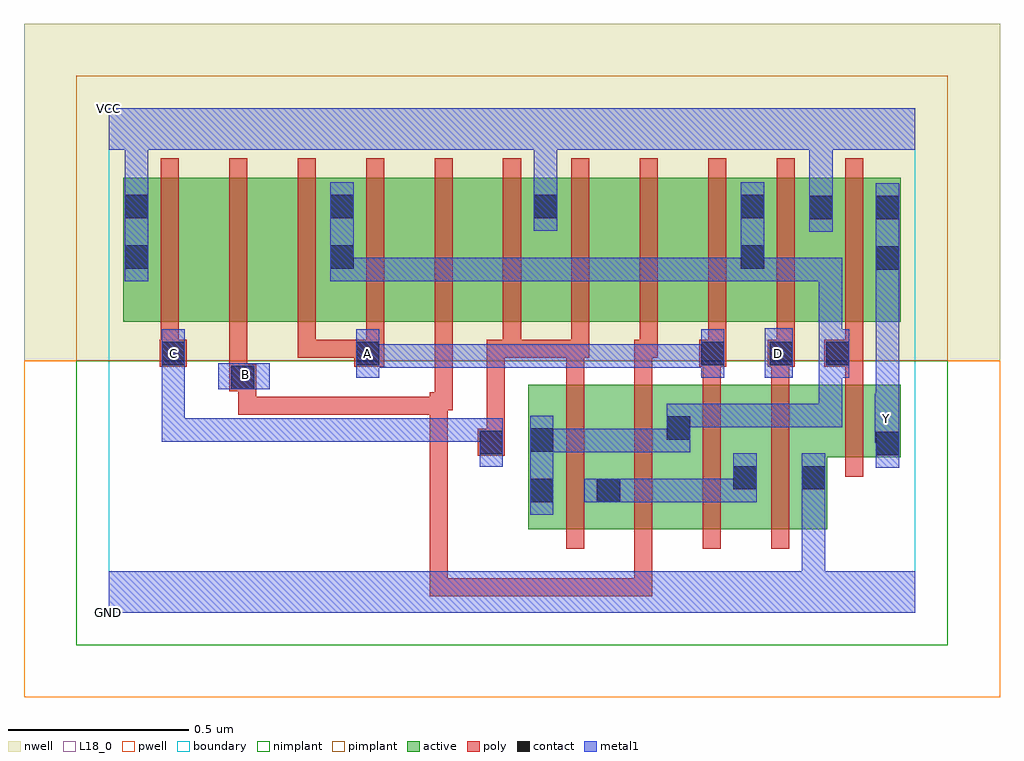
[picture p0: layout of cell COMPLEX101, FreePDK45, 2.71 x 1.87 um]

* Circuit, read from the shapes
.subckt COMPLEX101 A B C D GND VCC Y
M1 n1 C n2 VSUBS nfet w=0.4u l=0.05u
M2 n2 B n1 VSUBS nfet w=0.4u l=0.05u
M3 n1 A n2 VSUBS nfet w=0.4u l=0.05u
M4 GND D n1 VSUBS nfet w=0.4u l=0.05u
M5 Y n2 GND VSUBS nfet w=0.2u l=0.05u
M6 n3 C VCC n4 pfet w=0.4u l=0.05u
M7 n5 B n3 n4 pfet w=0.4u l=0.05u
M8 n2 A n5 n4 pfet w=0.4u l=0.05u
M9 n6 A n2 n4 pfet w=0.4u l=0.05u
M10 n7 B n6 n4 pfet w=0.4u l=0.05u
M11 VCC C n7 n4 pfet w=0.4u l=0.05u
M12 n8 C VCC n4 pfet w=0.4u l=0.05u
M13 n9 B n8 n4 pfet w=0.4u l=0.05u
M14 n2 A n9 n4 pfet w=0.4u l=0.05u
M15 VCC D n2 n4 pfet w=0.4u l=0.05u
M16 Y n2 VCC n4 pfet w=0.4u l=0.05u
.ends

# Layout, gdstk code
import gdstk
lib = gdstk.Library(unit=1e-6, precision=1e-09)
def R(c, l, rs):  # rectangles x0, y0, x1, y1
    for r in rs: c.add(gdstk.rectangle(r[:2], r[2:], *l))
def A(c, l, x, y, w, h, nx, ny, dx, dy):  # array of equal rectangles
    R(c, l, [(x+i*dx, y+j*dy, x+i*dx+w, y+j*dy+h) for i in range(nx) for j in range(ny)])
active = (1, 0)
pwell = (2, 0)
nwell = (3, 0)
nimplant = (4, 0)
pimplant = (5, 0)
poly = (9, 0)
contact = (10, 0)
metal1 = (11, 0)
L18_0 = (18, 0)
boundary = (235, 0)

complex101 = lib.new_cell('COMPLEX101')
A(complex101, active, 0.265, 0.807, 0.19, 0.4, 3, 1, 0.57, 0)
R(complex101, active, [(1.165,0.232,1.425,0.632), (1.35,0.232,1.62,0.632), (1.545,0.232,1.805,0.632), (1.73,0.232,1.995,0.632), (1.73,0.232,1.805,0.492), (1.92,0.232,1.995,0.597), (1.165,0.245,1.24,0.632), (1.35,0.245,1.425,0.537), (1.545,0.245,1.62,0.632), (1.92,0.432,2.2,0.632), (2.125,0.432,2.2,0.632), (0.04,0.807,0.265,1.207), (0.04,0.807,0.115,1.2), (0.455,0.807,0.685,1.207), (0.61,0.807,0.835,1.207), (1.025,0.807,1.25,1.207), (1.175,0.807,1.405,1.207), (1.595,0.807,1.825,1.207), (1.75,0.807,2.015,1.207), (1.94,0.807,2.2,1.207), (2.125,0.807,2.2,1.165), (0.61,0.82,0.685,1.2), (1.175,0.82,1.25,1.197), (1.75,0.82,1.825,1.2), (1.94,0.82,2.015,1.2)])
R(complex101, pwell, [(-0.235,-0.235,2.475,0.7)])
R(complex101, nwell, [(-0.235,0.7,2.475,1.635)])
R(complex101, nimplant, [(-0.09,-0.09,2.33,0.7)])
R(complex101, pimplant, [(-0.09,0.7,2.33,1.49)])
A(complex101, poly, 1.27, 0.177, 0.05, 0.51, 4, 1, 0.19, 0)
A(complex101, poly, 1.095, 0.707, 0.05, 0.095, 6, 1, 0.19, 0)
A(complex101, poly, 0.145, 0.752, 0.05, 0.51, 11, 1, 0.19, 0)
R(complex101, poly, [(0.892,0.045,0.942,0.095), (0.892,0.045,1.187,0.095), (0.892,0.045,0.942,0.6), (1.137,0.045,1.187,0.095), (1.137,0.045,1.187,0.095), (1.137,0.045,1.187,0.095), (1.137,0.045,1.377,0.095), (1.327,0.045,1.377,0.095), (1.327,0.045,1.51,0.095), (1.46,0.045,1.51,0.227), (1.46,0.045,1.51,0.095), (1.46,0.045,1.51,0.095), (1.46,0.045,1.51,0.095), (2.045,0.377,2.095,0.687), (1.025,0.435,1.1,0.51), (1.05,0.46,1.1,0.757), (0.36,0.55,0.41,0.6), (0.36,0.55,0.41,0.6), (0.36,0.55,0.41,0.6), (0.36,0.55,0.41,0.6), (0.36,0.55,0.41,0.6), (0.36,0.55,0.6,0.6), (0.36,0.55,0.41,0.665), (0.55,0.55,0.6,0.6), (0.55,0.55,0.6,0.6), (0.55,0.55,0.6,0.6), (0.55,0.55,0.81,0.6), (0.76,0.55,0.81,0.6), (0.76,0.55,0.81,0.6), (0.76,0.55,0.81,0.6), (0.76,0.55,0.942,0.6), (0.892,0.55,0.942,0.6), (0.892,0.55,0.942,0.6), (0.892,0.55,0.942,0.6), (0.892,0.55,0.942,0.6), (0.892,0.55,0.942,0.6), (0.892,0.55,0.942,0.6), (0.892,0.55,0.942,0.612), (0.892,0.562,0.942,0.612), (0.892,0.562,0.942,0.612), (0.892,0.562,0.942,0.612), (0.892,0.562,0.955,0.612), (0.905,0.562,0.955,0.802), (0.335,0.615,0.41,0.69), (1.27,0.637,1.32,0.757), (1.46,0.637,1.51,0.757), (1.65,0.637,1.7,0.732), (1.84,0.637,1.89,0.732), (2.045,0.637,2.095,0.732), (0.335,0.64,0.385,0.802), (0.142,0.682,0.217,0.757), (0.682,0.682,0.765,0.757), (1.64,0.682,1.715,0.757), (1.83,0.682,1.905,0.757), (1.987,0.682,2.095,0.757), (0.145,0.707,0.195,0.802), (0.525,0.707,0.575,0.802), (0.525,0.707,0.575,0.757), (0.525,0.707,0.575,0.757), (0.525,0.707,0.575,0.757), (0.525,0.707,0.732,0.757), (0.715,0.707,0.765,0.802), (1.05,0.707,1.115,0.757), (1.065,0.707,1.115,0.757), (1.065,0.707,1.145,0.757), (1.095,0.707,1.32,0.757), (1.27,0.707,1.335,0.757), (1.27,0.707,1.32,0.757), (1.27,0.707,1.32,0.757), (1.46,0.707,1.525,0.757)])
R(complex101, contact, [(1.17,0.307,1.235,0.372), (1.355,0.307,1.42,0.372), (1.735,0.342,1.8,0.407), (1.925,0.342,1.99,0.407), (2.13,0.437,2.195,0.502), (1.03,0.44,1.095,0.505), (1.17,0.447,1.235,0.512), (1.55,0.48,1.615,0.545), (0.34,0.62,0.405,0.685), (0.147,0.687,0.212,0.752), (0.687,0.687,0.752,0.752), (1.645,0.687,1.71,0.752), (1.835,0.687,1.9,0.752), (1.992,0.687,2.057,0.752), (2.13,0.952,2.195,1.017), (0.045,0.955,0.11,1.02), (0.615,0.955,0.68,1.02), (1.755,0.955,1.82,1.02), (1.945,1.092,2.01,1.157), (2.13,1.092,2.195,1.157), (0.045,1.095,0.11,1.16), (0.615,1.095,0.68,1.16), (1.18,1.095,1.245,1.16), (1.755,1.095,1.82,1.16)])
R(complex101, metal1, [(0,0,2.24,0.115), (1.925,0.05,1.99,0.372), (1.17,0.272,1.235,0.547), (1.32,0.307,1.455,0.372), (1.39,0.307,1.455,0.372), (1.39,0.307,1.455,0.372), (1.39,0.307,1.592,0.372), (1.527,0.307,1.592,0.372), (1.527,0.307,1.592,0.372), (1.527,0.307,1.592,0.372), (1.527,0.307,1.8,0.372), (1.735,0.307,1.8,0.442), (1.925,0.307,1.99,0.372), (1.925,0.307,1.99,0.372), (1.925,0.307,1.99,0.442), (2.13,0.402,2.195,0.537), (1.03,0.405,1.095,0.54), (1.17,0.445,1.235,0.51), (1.17,0.445,1.235,0.51), (1.17,0.445,1.442,0.51), (1.377,0.445,1.442,0.51), (1.377,0.445,1.442,0.51), (1.377,0.445,1.442,0.51), (1.377,0.445,1.615,0.51), (1.55,0.445,1.615,0.58), (2.127,0.472,2.195,0.607), (2.13,0.472,2.195,0.537), (0.147,0.475,0.212,0.54), (0.147,0.475,0.35,0.54), (0.147,0.475,0.212,0.717), (0.285,0.475,0.35,0.54), (0.285,0.475,0.35,0.54), (0.285,0.475,0.35,0.54), (0.285,0.475,0.542,0.54), (0.477,0.475,0.542,0.54), (0.477,0.475,0.542,0.54), (0.477,0.475,0.542,0.54), (0.477,0.475,0.68,0.54), (0.615,0.475,0.68,0.54), (0.615,0.475,0.94,0.54), (0.875,0.475,0.94,0.54), (0.875,0.475,0.94,0.54), (0.875,0.475,0.94,0.54), (0.875,0.475,1.077,0.54), (1.012,0.475,1.077,0.54), (1.012,0.475,1.077,0.54), (1.012,0.475,1.077,0.54), (1.012,0.475,1.095,0.54), (1.55,0.515,1.615,0.58), (1.55,0.515,1.615,0.58), (1.55,0.515,1.787,0.58), (1.722,0.515,1.787,0.58), (1.722,0.515,1.787,0.58), (1.722,0.515,1.787,0.58), (1.722,0.515,2.037,0.58), (1.972,0.515,2.037,0.58), (1.972,0.515,2.037,0.787), (2.13,0.542,2.195,0.982), (0.305,0.62,0.447,0.692), (0.147,0.652,0.212,0.717), (0.147,0.652,0.212,0.717), (0.147,0.652,0.212,0.787), (0.687,0.652,0.752,0.787), (1.645,0.652,1.71,0.787), (1.822,0.652,1.9,0.79), (1.992,0.652,2.057,0.787), (0.687,0.68,0.94,0.745), (0.875,0.68,0.94,0.745), (0.875,0.68,0.94,0.745), (0.875,0.68,0.94,0.745), (0.875,0.68,1.097,0.745), (1.032,0.68,1.097,0.745), (1.032,0.68,1.097,0.745), (1.032,0.68,1.097,0.745), (1.032,0.68,1.247,0.745), (1.182,0.68,1.247,0.745), (1.182,0.68,1.247,0.745), (1.182,0.68,1.247,0.745), (1.182,0.68,1.392,0.745), (1.327,0.68,1.392,0.745), (1.327,0.68,1.392,0.745), (1.327,0.68,1.392,0.745), (1.327,0.68,1.592,0.745), (1.527,0.68,1.592,0.745), (1.527,0.68,1.71,0.745), (1.972,0.722,2.037,0.787), (1.972,0.722,2.057,0.787), (1.972,0.722,2.037,0.985), (2.13,0.917,2.195,1.192), (0.045,0.92,0.11,1.195), (0.615,0.92,0.68,1.195), (0.615,0.92,0.68,0.985), (0.615,0.92,0.68,0.985), (0.615,0.92,0.94,0.985), (0.875,0.92,0.94,0.985), (0.875,0.92,0.94,0.985), (0.875,0.92,0.94,0.985), (0.875,0.92,1.097,0.985), (1.032,0.92,1.097,0.985), (1.032,0.92,1.097,0.985), (1.032,0.92,1.097,0.985), (1.032,0.92,1.247,0.985), (1.182,0.92,1.247,0.985), (1.182,0.92,1.247,0.985), (1.182,0.92,1.247,0.985), (1.182,0.92,1.39,0.985), (1.325,0.92,1.39,0.985), (1.325,0.92,1.39,0.985), (1.325,0.92,1.39,0.985), (1.325,0.92,1.592,0.985), (1.527,0.92,1.592,0.985), (1.527,0.92,1.592,0.985), (1.527,0.92,1.592,0.985), (1.527,0.92,1.82,0.985), (1.755,0.92,1.82,1.195), (1.755,0.92,1.82,0.985), (1.755,0.92,1.82,0.985), (1.755,0.92,2.037,0.985), (1.972,0.92,2.037,0.985), (1.945,1.057,2.01,1.192), (1.18,1.06,1.245,1.195), (1.945,1.127,2.01,1.35), (0.045,1.13,0.11,1.35), (1.18,1.13,1.245,1.35), (0,1.285,2.24,1.4)])
R(complex101, L18_0, [(0,0,2.24,0.115), (1.925,0.05,1.99,0.372), (1.925,0.307,1.99,0.442), (1.925,0.307,1.99,0.372), (1.925,0.307,1.99,0.372), (2.13,0.402,2.195,0.537), (1.03,0.405,1.095,0.54), (2.127,0.472,2.195,0.607), (2.13,0.472,2.195,0.537), (0.147,0.475,0.212,0.54), (0.147,0.475,0.212,0.717), (0.147,0.475,0.35,0.54), (0.285,0.475,0.35,0.54), (0.285,0.475,0.35,0.54), (0.285,0.475,0.35,0.54), (0.285,0.475,0.542,0.54), (0.477,0.475,0.542,0.54), (0.477,0.475,0.542,0.54), (0.477,0.475,0.542,0.54), (0.477,0.475,0.68,0.54), (0.615,0.475,0.68,0.54), (0.615,0.475,0.94,0.54), (0.875,0.475,0.94,0.54), (0.875,0.475,0.94,0.54), (0.875,0.475,0.94,0.54), (0.875,0.475,1.077,0.54), (1.012,0.475,1.077,0.54), (1.012,0.475,1.077,0.54), (1.012,0.475,1.077,0.54), (1.012,0.475,1.095,0.54), (2.127,0.507,2.192,0.572), (2.13,0.542,2.195,0.982), (0.305,0.62,0.447,0.692), (0.347,0.627,0.412,0.692), (0.147,0.652,0.212,0.787), (0.147,0.652,0.212,0.717), (0.147,0.652,0.212,0.717), (0.687,0.652,0.752,0.787), (1.645,0.652,1.71,0.787), (1.822,0.652,1.9,0.79), (0.687,0.68,0.94,0.745), (0.875,0.68,0.94,0.745), (0.875,0.68,0.94,0.745), (0.875,0.68,0.94,0.745), (0.875,0.68,1.097,0.745), (1.032,0.68,1.097,0.745), (1.032,0.68,1.097,0.745), (1.032,0.68,1.097,0.745), (1.032,0.68,1.247,0.745), (1.182,0.68,1.247,0.745), (1.182,0.68,1.247,0.745), (1.182,0.68,1.247,0.745), (1.182,0.68,1.392,0.745), (1.327,0.68,1.392,0.745), (1.327,0.68,1.392,0.745), (1.327,0.68,1.392,0.745), (1.327,0.68,1.592,0.745), (1.527,0.68,1.592,0.745), (1.527,0.68,1.71,0.745), (0.147,0.687,0.212,0.752), (0.687,0.687,0.752,0.752), (1.827,0.687,1.892,0.752), (2.13,0.917,2.195,1.192), (0.045,0.92,0.11,1.195), (1.945,1.057,2.01,1.192), (1.18,1.06,1.245,1.195), (1.945,1.127,2.01,1.35), (0.045,1.13,0.11,1.35), (1.18,1.13,1.245,1.35), (0,1.285,2.24,1.4)])
R(complex101, boundary, [(0,0,2.24,1.4)])
complex101.add(gdstk.Label('A', (0.72,0.72), layer=11, texttype=0))
complex101.add(gdstk.Label('B', (0.38,0.66), layer=11, texttype=0))
complex101.add(gdstk.Label('C', (0.18,0.72), layer=11, texttype=0))
complex101.add(gdstk.Label('D', (1.86,0.72), layer=11, texttype=0))
complex101.add(gdstk.Label('Y', (2.16,0.54), layer=11, texttype=0))
complex101.add(gdstk.Label('VCC', (0,1.4), layer=11, texttype=0))
complex101.add(gdstk.Label('GND', (0,0), layer=11, texttype=0))

lib.write_gds('COMPLEX101.gds')
